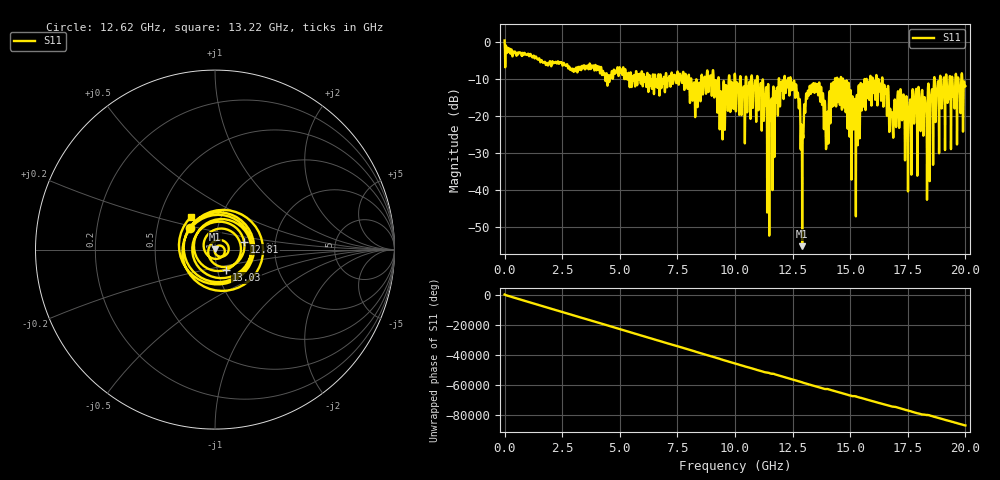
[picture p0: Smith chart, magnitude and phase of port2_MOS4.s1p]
! MS46122B
! 2250307/22442219
! 7/26/2025 10:23:28 AM
! C:\USERS\SPARKY\DOCUMENTS\VNA_DATA\JULY26_2025\295K\PORT2_MOS4.S1P
! CHANNEL.1
! TR.MEASUREMENT
! RAW.DATA
# GHZ S RI R 50.0
! FREQ.GHZ  S11RE  S11IM
!; PortSelection: Port_1
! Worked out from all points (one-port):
!   10001 points, 1 MHz to 20 GHz, reference 50 ohm
!   lowest |S11| = -55.1 dB at 12.92 GHz (marker M1), VSWR 1.00, Z = 49.8 + j0.0877 ohm
!   |S11| at or under -10 dB: 12.42 GHz to 14.34 GHz (1.922 GHz wide, 14.4 % of centre); 14.69 GHz to 15.62 GHz (935.1 MHz wide, 6.17 % of centre); 16.4 GHz to 18.64 GHz (2.238 GHz wide, 12.8 % of centre) (the widest 3 of 71)
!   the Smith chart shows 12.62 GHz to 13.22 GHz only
!   S11 on the Smith chart (normalised r, x): 12.62 GHz: 0.74, +0.19; 12.81 GHz: 1.38, +0.13; 13.03 GHz: 1.10, -0.25; 13.22 GHz: 0.72, +0.27
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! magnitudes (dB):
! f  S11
! 1 MHz  0.4
! 2.501 GHz  -6.1
! 5.001 GHz  -6.9
! 7.501 GHz  -8.0
! 8.211 GHz  -11.5
! 8.979 GHz  -12.5
! 9.403 GHz  -13.5
! 10 GHz  -8.9
! 11.04 GHz  -13.5
! 11.56 GHz  -21.0
! 11.98 GHz  -11.5
! 12.5 GHz  -11.5
! 12.62 GHz  -14.6
! 12.81 GHz  -15.5
! 12.92 GHz  -55.1
! 13.03 GHz  -17.8
! 13.22 GHz  -12.9
! 13.73 GHz  -12.3
! 13.96 GHz  -28.5
! 14.35 GHz  -9.8
! 15 GHz  -14.2
! 15.24 GHz  -23.2
! 16.05 GHz  -10.7
! 16.57 GHz  -13.9
! 16.79 GHz  -19.2
! 17.13 GHz  -23.0
! 17.5 GHz  -29.9
! 20 GHz  -11.9
